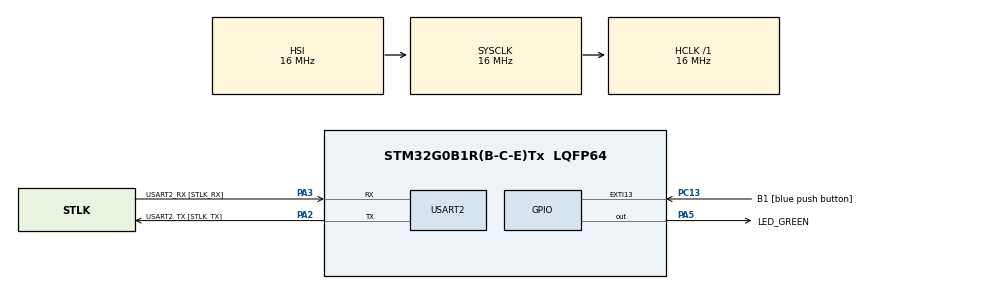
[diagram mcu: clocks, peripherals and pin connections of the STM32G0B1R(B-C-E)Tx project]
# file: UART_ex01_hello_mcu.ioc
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Mcu.Family=STM32G0
Mcu.Name=STM32G0B1R(B-C-E)Tx
Mcu.Package=LQFP64
PA13.GPIO_Label=TMS
PA13.Mode=Serial_Wire
PA13.Signal=SYS_SWDIO
PA14-BOOT0.GPIO_Label=TCK
PA14-BOOT0.Mode=Serial_Wire
PA14-BOOT0.Signal=SYS_SWCLK
PA2.GPIO_Label=USART2_TX [STLK_TX]
PA2.Mode=Asynchronous
PA2.Signal=USART2_TX
PA3.GPIO_Label=USART2_RX [STLK_RX]
PA3.Mode=Asynchronous
PA3.Signal=USART2_RX
PA5.GPIO_Label=LED_GREEN
PA5.GPIO_Speed=GPIO_SPEED_FREQ_HIGH
PA5.Signal=GPIO_Output
PC13.GPIO_Label=B1 [blue push button]
PC13.Signal=GPXTI13
PC14-OSC32_IN\ (PC14).Mode=LSE-External-Oscillator
PC14-OSC32_IN\ (PC14).Signal=RCC_OSC32_IN
PC15-OSC32_OUT\ (PC15).Mode=LSE-External-Oscillator
PC15-OSC32_OUT\ (PC15).Signal=RCC_OSC32_OUT
PF0-OSC_IN\ (PF0).GPIO_Label=MCO
PF0-OSC_IN\ (PF0).Mode=HSE-External-Clock-Source
PF0-OSC_IN\ (PF0).Signal=RCC_OSC_IN
ProjectManager.HeapSize=0x200
ProjectManager.StackSize=0x400
ProjectManager.TargetToolchain=STM32CubeIDE
RCC.AHBFreq_Value=16000000
RCC.CortexFreq_Value=16000000
RCC.EXTERNAL_CLOCK_VALUE=12288000
RCC.HCLKFreq_Value=16000000
RCC.HSE_VALUE=8000000
RCC.HSI48_VALUE=48000000
RCC.HSI_VALUE=16000000
RCC.SYSCLKFreq_VALUE=16000000
RCC.USBFreq_Value=48000000
RCC.VCOOutputFreq_Value=128000000
USART2.VirtualMode-Asynchronous=VM_ASYNC
board=NUCLEO-G0B1RE

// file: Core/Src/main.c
/* USER CODE BEGIN Header */
/**
  ******************************************************************************
  * @file           : main.c
  * @brief          : Main program body
  ******************************************************************************
  * @attention
  *
  * Copyright (c) 2026 STMicroelectronics.
  * All rights reserved.
  *
  * This software is licensed under terms that can be found in the LICENSE file
  * in the root directory of this software component.
  * If no LICENSE file comes with this software, it is provided AS-IS.
  *
  ******************************************************************************
  */
/* USER CODE END Header */
#include "main.h"

UART_HandleTypeDef huart2;

void SystemClock_Config(void);
static void MX_GPIO_Init(void);
static void MX_USART2_UART_Init(void);

/* USER CODE BEGIN 0 */
int __io_putchar (int ch){
	HAL_UART_Transmit(&huart2, (uint8_t*)&ch, 1, HAL_MAX_DELAY);
	return ch;
}
int _write(int file, char *ptr, int len){
	HAL_UART_Transmit(&huart2, (uint8_t*)ptr, len, HAL_MAX_DELAY);
	return len;
}
/* USER CODE END 0 */

int main(void)
{

  /* MCU Configuration--------------------------------------------------------*/

  /* Reset of all peripherals, Initializes the Flash interface and the Systick. */
  HAL_Init();

  /* Configure the system clock */
  SystemClock_Config();

  /* Initialize all configured peripherals */
  MX_GPIO_Init();
  MX_USART2_UART_Init();
  /* USER CODE BEGIN 2 */
  uint8_t rx_data;
  char tx_msg[] = "NUCLEO-UART Test\r\n";
  HAL_UART_Transmit(&huart2, (uint8_t*)tx_msg, strlen(tx_msg), HAL_MAX_DELAY);

  printf("Hello world!\r\n");

  /* USER CODE END 2 */

  /* Infinite loop */
  /* USER CODE BEGIN WHILE */
  unsigned int count = 0;
  while (1)
  {
	  count++;
	  printf("Count %d\r\n", count);
	  HAL_Delay(500);
//	  HAL_UART_Transmit(&huart2, (uint8_t*)tx_msg, strlen(tx_msg), HAL_MAX_DELAY);
	  if (count == 10)
		  break;
    /* USER CODE END WHILE */
  }
}

void SystemClock_Config(void)
{
  RCC_OscInitTypeDef RCC_OscInitStruct = {0};
  RCC_ClkInitTypeDef RCC_ClkInitStruct = {0};

  /** Configure the main internal regulator output voltage
  */
  HAL_PWREx_ControlVoltageScaling(PWR_REGULATOR_VOLTAGE_SCALE1);

  /** Initializes the RCC Oscillators according to the specified parameters
  * in the RCC_OscInitTypeDef structure.
  */
  RCC_OscInitStruct.OscillatorType = RCC_OSCILLATORTYPE_HSI;
  RCC_OscInitStruct.HSIState = RCC_HSI_ON;
  RCC_OscInitStruct.HSIDiv = RCC_HSI_DIV1;
  RCC_OscInitStruct.HSICalibrationValue = RCC_HSICALIBRATION_DEFAULT;
  RCC_OscInitStruct.PLL.PLLState = RCC_PLL_NONE;
  if (HAL_RCC_OscConfig(&RCC_OscInitStruct) != HAL_OK)
  {
    Error_Handler();
  }

  /** Initializes the CPU, AHB and APB buses clocks
  */
  RCC_ClkInitStruct.ClockType = RCC_CLOCKTYPE_HCLK|RCC_CLOCKTYPE_SYSCLK
                              |RCC_CLOCKTYPE_PCLK1;
  RCC_ClkInitStruct.SYSCLKSource = RCC_SYSCLKSOURCE_HSI;
  RCC_ClkInitStruct.AHBCLKDivider = RCC_SYSCLK_DIV1;
  RCC_ClkInitStruct.APB1CLKDivider = RCC_HCLK_DIV1;

  if (HAL_RCC_ClockConfig(&RCC_ClkInitStruct, FLASH_LATENCY_0) != HAL_OK)
  {
    Error_Handler();
  }
}

static void MX_USART2_UART_Init(void)
{

  huart2.Instance = USART2;
  huart2.Init.BaudRate = 115200;
  huart2.Init.WordLength = UART_WORDLENGTH_8B;
  huart2.Init.StopBits = UART_STOPBITS_1;
  huart2.Init.Parity = UART_PARITY_NONE;
  huart2.Init.Mode = UART_MODE_TX_RX;
  huart2.Init.HwFlowCtl = UART_HWCONTROL_NONE;
  huart2.Init.OverSampling = UART_OVERSAMPLING_16;
  huart2.Init.OneBitSampling = UART_ONE_BIT_SAMPLE_DISABLE;
  huart2.Init.ClockPrescaler = UART_PRESCALER_DIV1;
  huart2.AdvancedInit.AdvFeatureInit = UART_ADVFEATURE_NO_INIT;
  if (HAL_UART_Init(&huart2) != HAL_OK)
  {
    Error_Handler();
  }
  if (HAL_UARTEx_SetTxFifoThreshold(&huart2, UART_TXFIFO_THRESHOLD_1_8) != HAL_OK)
  {
    Error_Handler();
  }
  if (HAL_UARTEx_SetRxFifoThreshold(&huart2, UART_RXFIFO_THRESHOLD_1_8) != HAL_OK)
  {
    Error_Handler();
  }
  if (HAL_UARTEx_DisableFifoMode(&huart2) != HAL_OK)
  {
    Error_Handler();
  }

}

static void MX_GPIO_Init(void)
{
  GPIO_InitTypeDef GPIO_InitStruct = {0};

  /* GPIO Ports Clock Enable */
  __HAL_RCC_GPIOC_CLK_ENABLE();
  __HAL_RCC_GPIOF_CLK_ENABLE();
  __HAL_RCC_GPIOA_CLK_ENABLE();

  /*Configure GPIO pin Output Level */
  HAL_GPIO_WritePin(LED_GREEN_GPIO_Port, LED_GREEN_Pin, GPIO_PIN_RESET);

  /*Configure GPIO pin : B1_Pin */
  GPIO_InitStruct.Pin = B1_Pin;
  GPIO_InitStruct.Mode = GPIO_MODE_IT_RISING;
  GPIO_InitStruct.Pull = GPIO_NOPULL;
  HAL_GPIO_Init(B1_GPIO_Port, &GPIO_InitStruct);

  /*Configure GPIO pin : LED_GREEN_Pin */
  GPIO_InitStruct.Pin = LED_GREEN_Pin;
  GPIO_InitStruct.Mode = GPIO_MODE_OUTPUT_PP;
  GPIO_InitStruct.Pull = GPIO_NOPULL;
  GPIO_InitStruct.Speed = GPIO_SPEED_FREQ_HIGH;
  HAL_GPIO_Init(LED_GREEN_GPIO_Port, &GPIO_InitStruct);

}

void Error_Handler(void)
{
  __disable_irq();
  while (1)
  {
  }
}
